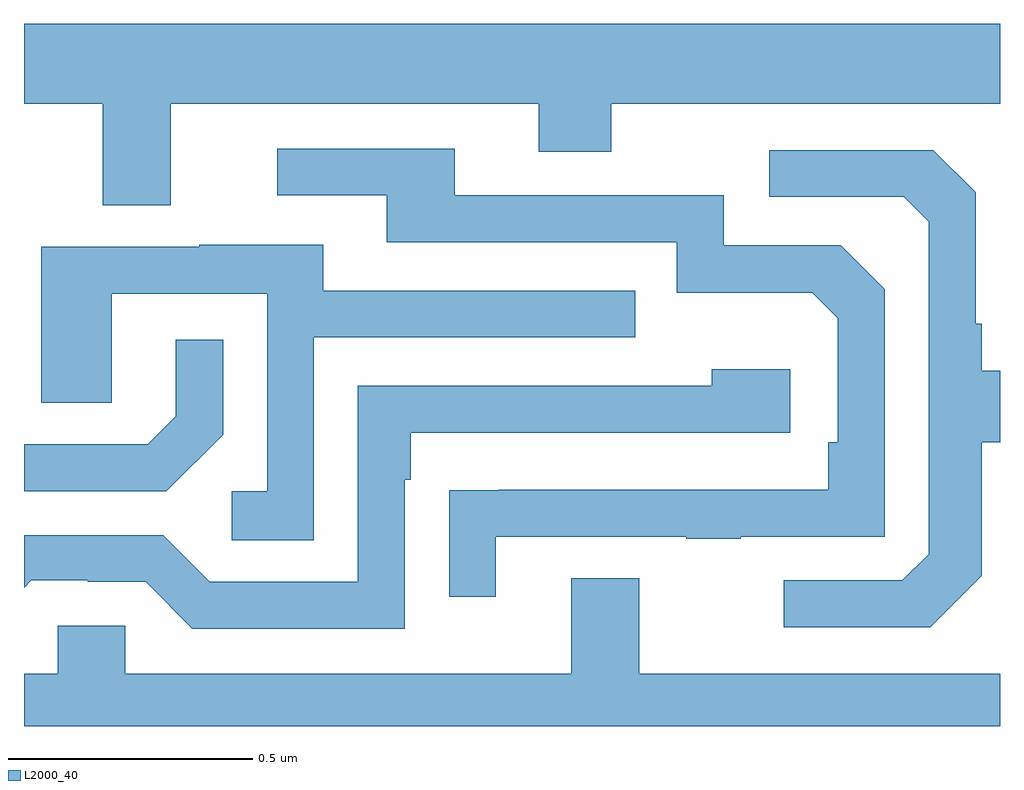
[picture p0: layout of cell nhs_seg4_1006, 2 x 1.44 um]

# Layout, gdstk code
import gdstk
lib = gdstk.Library(unit=1e-6, precision=1e-09)
def P(c, l, *ps):  # polygons
    for p in ps: c.add(gdstk.Polygon(p, *l))
L2000_40 = (2000, 40)

nhs_seg4_1006 = lib.new_cell('nhs_seg4_1006')
P(nhs_seg4_1006, L2000_40, [(123.301,774.176),(124.055,774.176),(124.055,774.077),(124.203,774.077),(124.203,774.176),(125,774.176),(125,774.34),(123,774.34),(123,774.176),(123.161,774.176),(123.161,773.968),(123.301,773.968)],
  [(123.967,773.289),(124.357,773.289),(124.357,773.284),(124.469,773.284),(124.469,773.289),(124.764,773.289),(124.764,773.796),(124.674,773.886),(124.434,773.886),(124.434,773.988),(123.883,773.988),(123.883,774.084),(123.519,774.084),(123.519,773.988),(123.743,773.988),(123.743,773.892),(124.338,773.892),(124.338,773.789),(124.615,773.789),(124.668,773.736),(124.668,773.482),(124.648,773.482),(124.648,773.385),(123.973,773.385),(123.973,773.384),(123.871,773.384),(123.871,773.166),(123.967,773.166)],
  [(124.963,773.209),(124.963,773.482),(125,773.482),(125,773.629),(124.963,773.629),(124.963,773.725),(124.95,773.725),(124.95,773.994),(124.863,774.081),(124.527,774.081),(124.527,773.985),(124.803,773.985),(124.854,773.934),(124.854,773.253),(124.8,773.199),(124.557,773.199),(124.557,773.103),(124.857,773.103)],
  [(123.594,773.697),(124.253,773.697),(124.253,773.793),(123.613,773.793),(123.613,773.887),(123.359,773.887),(123.359,773.883),(123.035,773.883),(123.035,773.563),(123.18,773.563),(123.18,773.787),(123.498,773.787),(123.498,773.382),(123.426,773.382),(123.426,773.281),(123.594,773.281)],
  [(123.408,773.498),(123.408,773.692),(123.311,773.692),(123.311,773.535),(123.254,773.478),(123,773.478),(123,773.382),(123.292,773.382)],
  [(123.78,773.405),(123.793,773.405),(123.793,773.502),(124.57,773.502),(124.57,773.632),(124.409,773.632),(124.409,773.598),(123.684,773.598),(123.684,773.196),(123.381,773.196),(123.285,773.292),(123,773.292),(123,773.184),(123.015,773.199),(123.131,773.199),(123.131,773.196),(123.249,773.196),(123.345,773.1),(123.78,773.1)],
  [(123.069,773.106),(123.069,773.008),(123,773.008),(123,772.9),(125,772.9),(125,773.008),(124.261,773.008),(124.261,773.203),(124.121,773.203),(124.121,773.008),(123.207,773.008),(123.207,773.106)])

lib.write_gds('nhs_seg4_1006.gds')
